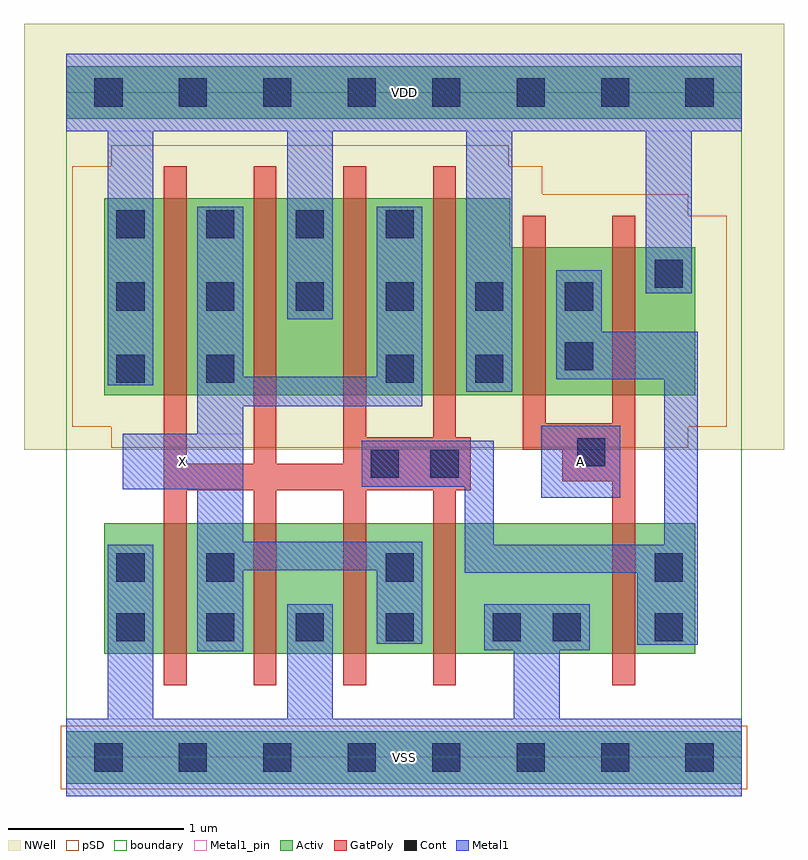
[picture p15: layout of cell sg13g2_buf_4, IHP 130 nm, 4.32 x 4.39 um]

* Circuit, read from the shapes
.subckt sg13g2_buf_4 A VDD VSS X
XM1 X n1 VSS VSS sg13_lv_nmos w=0.74u l=0.13u m=4
XM2 n1 A VSS VSS sg13_lv_nmos w=0.74u l=0.13u
XM3 X n1 VDD VDD sg13_lv_pmos w=1.12u l=0.13u m=4
XM4 n1 A VDD VDD sg13_lv_pmos w=0.84u l=0.13u m=2
.ends

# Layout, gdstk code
import gdstk
lib = gdstk.Library(unit=1e-6, precision=1e-09)
def R(c, l, rs):  # rectangles x0, y0, x1, y1
    for r in rs: c.add(gdstk.rectangle(r[:2], r[2:], *l))
def A(c, l, x, y, w, h, nx, ny, dx, dy):  # array of equal rectangles
    R(c, l, [(x+i*dx, y+j*dy, x+i*dx+w, y+j*dy+h) for i in range(nx) for j in range(ny)])
Activ = (1, 0)
GatPoly = (5, 0)
Cont = (6, 0)
Metal1 = (8, 0)
Metal1_pin = (8, 2)
pSD = (14, 0)
NWell = (31, 0)
boundary = (189, 4)

sg13g2_buf_4 = lib.new_cell('sg13g2_buf_4')
R(sg13g2_buf_4, Activ, [(0,-0.15,3.84,0.15), (0.215,0.59,3.575,1.33), (0.215,2.06,3.575,2.9), (0.215,2.9,2.525,3.18), (0,3.63,3.84,3.93)])
A(sg13g2_buf_4, GatPoly, 0.555, 0.41, 0.13, 1.11, 4, 1, 0.51, 0)
R(sg13g2_buf_4, GatPoly, [(3.105,0.41,3.235,1.57), (0.555,1.52,2.3,1.67), (2.82,1.57,3.235,1.75), (0.555,1.67,0.685,3.36), (1.065,1.67,1.195,3.36), (1.575,1.67,2.3,1.82), (2.595,1.75,3.235,1.9), (1.575,1.82,1.705,3.36), (2.085,1.82,2.215,3.36), (2.595,1.9,2.725,3.08), (3.105,1.9,3.235,3.08)])
A(sg13g2_buf_4, Cont, 0.16, -0.08, 0.16, 0.16, 8, 2, 0.48, 3.78)
A(sg13g2_buf_4, Cont, 0.285, 0.66, 0.16, 0.16, 4, 2, 0.51, 2.29)
A(sg13g2_buf_4, Cont, 0.285, 2.54, 0.16, 0.16, 6, 1, 0.51, 0)
R(sg13g2_buf_4, Cont, [(2.425,0.66,2.585,0.82), (2.765,0.66,2.925,0.82), (3.345,0.66,3.505,0.82), (0.285,1,0.445,1.16), (0.795,1,0.955,1.16), (1.815,1,1.975,1.16), (3.345,1,3.505,1.16), (1.73,1.59,1.89,1.75), (2.07,1.59,2.23,1.75), (2.905,1.655,3.065,1.815), (0.285,2.13,0.445,2.29), (0.795,2.13,0.955,2.29), (1.815,2.13,1.975,2.29), (2.325,2.13,2.485,2.29), (2.835,2.2,2.995,2.36), (3.345,2.67,3.505,2.83)])
R(sg13g2_buf_4, Metal1, [(0,-0.22,3.84,0.22), (0.235,0.22,0.495,1.21), (1.255,0.22,1.515,0.87), (2.545,0.22,2.805,0.61), (0.745,0.605,1.005,1.065), (2.375,0.61,2.975,0.87), (3.245,0.64,3.59,1.05), (1.765,0.645,2.025,1.065), (2.265,1.05,3.59,1.21), (0.745,1.065,2.025,1.225), (2.265,1.21,2.43,1.54), (3.4,1.21,3.59,2.15), (0.745,1.225,1.005,1.525), (2.7,1.475,3.15,1.885), (0.32,1.525,1.005,1.84), (1.68,1.54,2.43,1.8), (0.745,1.84,1.005,1.995), (0.745,1.995,2.025,2.165), (2.275,2.08,2.535,3.56), (0.235,2.115,0.495,3.56), (2.785,2.15,3.59,2.42), (0.745,2.165,1.005,3.13), (1.765,2.165,2.025,3.13), (2.785,2.42,3.045,2.77), (1.255,2.49,1.515,3.56), (3.295,2.64,3.555,3.56), (0,3.56,3.84,4)])
R(sg13g2_buf_4, Metal1_pin, [(0,-0.22,3.84,0.22), (2.7,1.475,3.15,1.885), (0.32,1.525,1.005,1.84), (0,3.56,3.84,4)])
R(sg13g2_buf_4, pSD, [(-0.03,-0.18,3.87,0.18), (0.255,1.76,3.535,1.88), (0.035,1.88,3.755,3.08), (0.035,3.08,3.535,3.2), (0.035,3.2,2.705,3.36), (0.255,3.36,2.515,3.48)])
R(sg13g2_buf_4, NWell, [(-0.24,1.75,4.08,4.17)])
R(sg13g2_buf_4, boundary, [(0,0,3.84,3.78)])
sg13g2_buf_4.add(gdstk.Label('X', (0.662,1.682), layer=8, texttype=25))
sg13g2_buf_4.add(gdstk.Label('VSS', (1.92,0), layer=8, texttype=25))
sg13g2_buf_4.add(gdstk.Label('A', (2.925,1.68), layer=8, texttype=25))
sg13g2_buf_4.add(gdstk.Label('VDD', (1.92,3.78), layer=8, texttype=25))

lib.write_gds('sg13g2_buf_4.gds')
